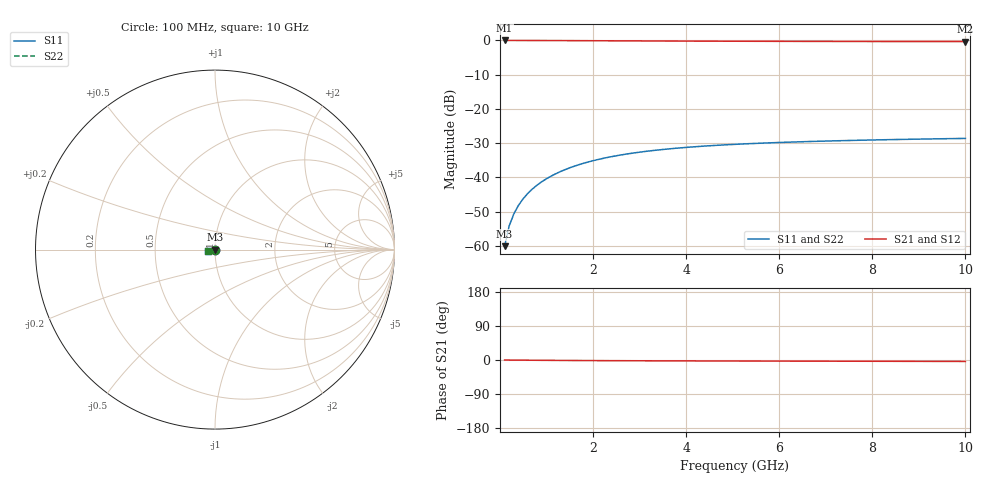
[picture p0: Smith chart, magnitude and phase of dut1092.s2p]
! Touchstone file exported from HFSS 2024.1.0
!  File:  C:/UserFiles/LocalFiles/RDL_TSV_Batchsim/temp_TSV1_1092_1780066450.aedt
!  Generated:  10:59:12 PM May 29, 2026
!  Design:  TSV1
!  Project:  temp_TSV1_1092_1780066450
!  Setup:  Setup1
!  Solution:  Sweep
! Variables:
!  dtsv = 10.95um
!  hbump = 3um
!  htsv = 57.2um
!  lrdl = 252.1521522um
!  p = 40
!  p1 = 44.48um
!  t = 500um
!  trdl = 3um
!  wrdl = 24.89489489um
# GHz S MA R 50.000000
! Terminal data exported
! Port[1] = TSV22_T1
! Port[2] = TSV22_T2
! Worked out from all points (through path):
!   100 points, 100 MHz to 10 GHz, reference 50 ohm
!   highest |S21| = 0.00 dB at 100 MHz (marker M1); lowest = -0.3 dB at 10 GHz (marker M2)
!   lowest |S11| = -60.0 dB at 100 MHz (marker M3), VSWR 1.00, Z = 50 - j0.0992 ohm
!   |S11| at or under -10 dB: start of sweep to end of sweep
!   |S22| runs from -60.0 to -28.6 dB; largest |S21 - S12| = 3.2e-15
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0.1  0.0009947 -85.8  0.9999 -0.1  0.9999 -0.1  0.0009947 -85.8
! Gamma 0 0 0 0
! Port Impedance 50 0 50 0
0.2  0.00198 -90.3  0.9998 -0.2  0.9998 -0.2  0.00198 -90.3
0.3  0.002963 -93.0  0.9996 -0.3  0.9996 -0.3  0.002963 -93.0
0.4  0.003941 -95.1  0.9994 -0.4  0.9994 -0.4  0.003941 -95.1
0.5  0.004911 -97.0  0.9992 -0.5  0.9992 -0.5  0.004911 -97.0
0.6  0.005873 -98.7  0.9988 -0.5  0.9988 -0.5  0.005873 -98.7
0.7  0.006823 -100.5  0.9985 -0.6  0.9985 -0.6  0.006823 -100.5
0.8  0.007761 -102.1  0.9981 -0.7  0.9981 -0.7  0.007761 -102.1
0.9  0.008684 -103.8  0.9976 -0.8  0.9976 -0.8  0.008684 -103.8
1.1  0.01048 -106.9  0.9966 -1.0  0.9966 -1.0  0.01048 -106.9
1.4  0.01304 -111.4  0.9949 -1.2  0.9949 -1.2  0.01304 -111.4
1.6  0.01464 -114.2  0.9936 -1.3  0.9936 -1.3  0.01464 -114.2
1.8  0.01615 -116.9  0.9923 -1.4  0.9923 -1.4  0.01615 -116.9
2.1  0.01826 -120.7  0.9903 -1.6  0.9903 -1.6  0.01826 -120.7
2.5  0.02075 -125.5  0.9876 -1.8  0.9876 -1.8  0.02075 -125.5
2.9  0.02292 -129.8  0.985 -2.0  0.985 -2.0  0.02292 -129.8
3.4  0.02522 -134.6  0.982 -2.2  0.982 -2.2  0.02522 -134.6
4.2  0.02814 -141.2  0.9778 -2.4  0.9778 -2.4  0.02814 -141.2
5.1  0.03058 -147.3  0.9738 -2.7  0.9738 -2.7  0.03058 -147.3
6.7  0.03357 -155.9  0.9687 -3.1  0.9687 -3.1  0.03357 -155.9
8.4  0.03571 -162.9  0.9651 -3.4  0.9651 -3.4  0.03571 -162.9
10  0.03717 -168.4  0.9626 -3.8  0.9626 -3.8  0.03717 -168.4
